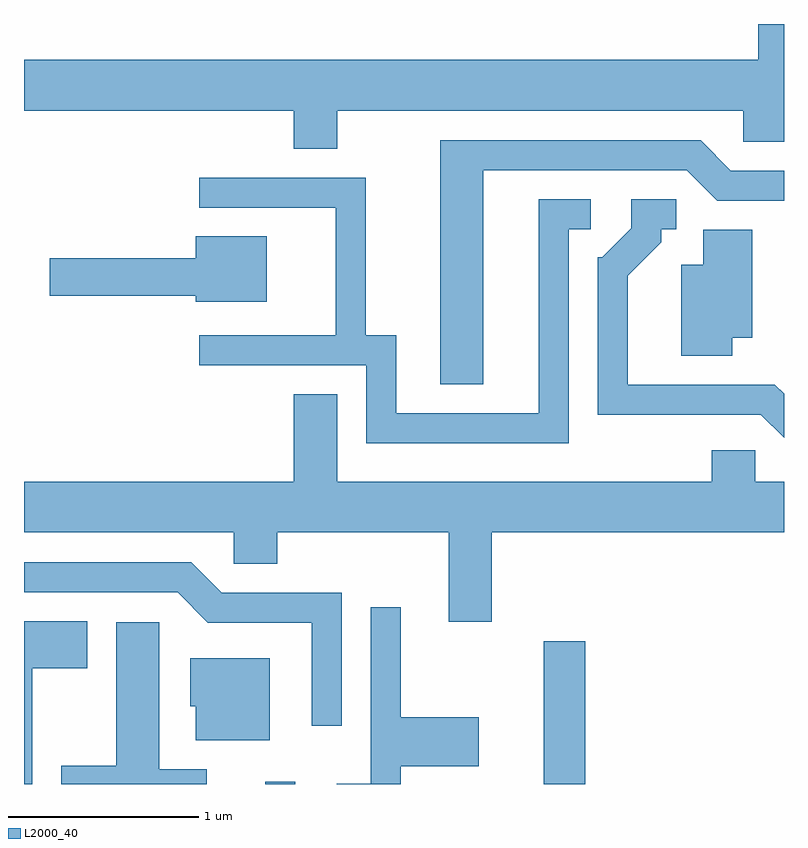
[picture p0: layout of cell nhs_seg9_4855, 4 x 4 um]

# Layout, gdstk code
import gdstk
lib = gdstk.Library(unit=1e-6, precision=1e-09)
def R(c, l, rs):  # rectangles x0, y0, x1, y1
    for r in rs: c.add(gdstk.rectangle(r[:2], r[2:], *l))
def P(c, l, *ps):  # polygons
    for p in ps: c.add(gdstk.Polygon(p, *l))
L2000_40 = (2000, 40)

nhs_seg9_4855 = lib.new_cell('nhs_seg9_4855')
R(nhs_seg9_4855, L2000_40, [(328.881,2050.432,329.039,2050.443), (330.346,2050.432,330.564,2051.184)])
P(nhs_seg9_4855, L2000_40, [(331.611,2054.432),(331.476,2054.432),(331.476,2054.244),(327.611,2054.244),(327.611,2053.976),(329.031,2053.976),(329.031,2053.776),(329.259,2053.776),(329.259,2053.976),(331.396,2053.976),(331.396,2053.811),(331.611,2053.811)],
  [(330.029,2053.661),(331.099,2053.661),(331.259,2053.501),(331.611,2053.501),(331.611,2053.659),(331.332,2053.659),(331.172,2053.819),(329.801,2053.819),(329.801,2052.536),(330.029,2052.536)],
  [(330.479,2053.351),(330.593,2053.351),(330.593,2053.509),(330.321,2053.509),(330.321,2052.384),(329.569,2052.384),(329.569,2052.794),(329.409,2052.794),(329.409,2053.624),(328.533,2053.624),(328.533,2053.466),(329.251,2053.466),(329.251,2052.794),(328.533,2052.794),(328.533,2052.636),(329.411,2052.636),(329.411,2052.226),(330.479,2052.226)],
  [(331.611,2052.485),(331.562,2052.534),(330.789,2052.534),(330.789,2053.108),(330.964,2053.284),(330.964,2053.351),(331.043,2053.351),(331.043,2053.509),(330.806,2053.509),(330.806,2053.356),(330.654,2053.204),(330.631,2053.204),(330.631,2052.376),(331.489,2052.376),(331.611,2052.254)],
  [(331.339,2052.781),(331.444,2052.781),(331.444,2053.349),(331.186,2053.349),(331.186,2053.164),(331.071,2053.164),(331.071,2052.686),(331.339,2052.686)],
  [(328.889,2053.314),(328.516,2053.314),(328.516,2053.199),(327.746,2053.199),(327.746,2053.001),(328.516,2053.001),(328.516,2052.971),(328.889,2052.971)],
  [(330.074,2051.756),(331.611,2051.756),(331.611,2052.024),(331.459,2052.024),(331.459,2052.189),(331.231,2052.189),(331.231,2052.024),(329.259,2052.024),(329.259,2052.484),(329.031,2052.484),(329.031,2052.024),(327.611,2052.024),(327.611,2051.756),(328.716,2051.756),(328.716,2051.591),(328.944,2051.591),(328.944,2051.756),(329.846,2051.756),(329.846,2051.286),(330.074,2051.286)],
  [(329.284,2051.439),(328.652,2051.439),(328.492,2051.599),(327.611,2051.599),(327.611,2051.441),(328.419,2051.441),(328.579,2051.281),(329.126,2051.281),(329.126,2050.738),(329.284,2050.738)],
  [(329.594,2050.526),(330.004,2050.526),(330.004,2050.784),(329.594,2050.784),(329.594,2051.363),(329.436,2051.363),(329.436,2050.434),(329.256,2050.434),(329.256,2050.432),(329.594,2050.432)],
  [(327.654,2051.041),(327.944,2051.041),(327.944,2051.289),(327.611,2051.289),(327.611,2050.432),(327.654,2050.432)],
  [(328.574,2050.509),(328.324,2050.509),(328.324,2051.284),(328.096,2051.284),(328.096,2050.529),(327.806,2050.529),(327.806,2050.432),(328.574,2050.432)],
  [(328.904,2051.094),(328.486,2051.094),(328.486,2050.841),(328.516,2050.841),(328.516,2050.661),(328.904,2050.661)])

lib.write_gds('nhs_seg9_4855.gds')
